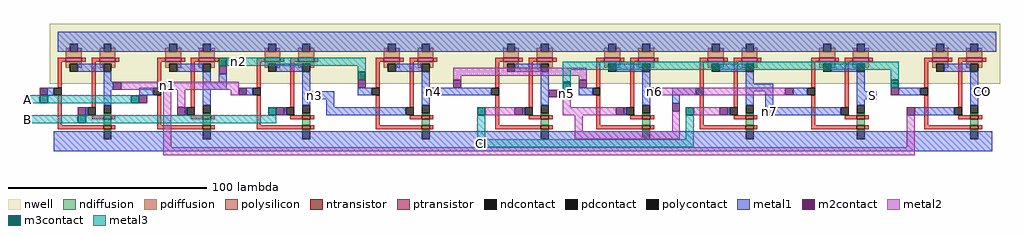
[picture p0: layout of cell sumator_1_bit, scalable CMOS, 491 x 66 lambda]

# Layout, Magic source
magic
tech scmos
<< nwell >>
rect -1 28 477 58
<< metal1 >>
rect 3 44 475 54
rect 84 29 88 33
rect 30 25 31 29
rect 80 25 88 29
rect 126 24 130 26
rect 126 20 142 24
rect 190 22 216 26
rect 265 22 270 26
rect 312 22 317 26
rect 353 24 363 28
rect 138 16 142 20
rect 312 18 316 22
rect 138 12 177 16
rect 359 16 363 24
rect 409 20 415 24
rect 426 22 430 26
rect 466 22 470 26
rect 359 12 396 16
rect 434 12 453 16
rect 1 -6 473 4
<< m2contact >>
rect 84 33 88 37
rect -6 22 -2 26
rect 31 25 35 29
rect 154 26 158 30
rect 202 26 206 30
rect 265 26 269 30
rect 94 22 98 26
rect 44 18 48 22
rect 250 21 254 25
rect 301 22 305 26
rect 13 12 17 16
rect 63 12 67 16
rect 113 12 117 16
rect 233 12 237 16
rect 284 12 288 16
rect 312 14 316 18
rect 369 22 373 26
rect 422 22 426 26
rect 336 12 340 16
rect 430 12 434 16
<< metal2 >>
rect 35 25 94 29
rect 202 32 269 36
rect 202 30 206 32
rect 265 30 269 32
rect 56 -4 60 25
rect 63 16 67 25
rect 90 22 94 25
rect 254 21 261 25
rect 305 22 369 26
rect 257 16 261 21
rect 218 12 233 16
rect 257 12 284 16
rect 263 4 267 12
rect 312 4 316 14
rect 323 12 336 16
rect 263 0 316 4
rect 430 -4 434 12
rect 56 -8 434 -4
<< m3contact >>
rect 84 37 88 41
rect 154 30 158 34
rect -6 18 -2 22
rect 40 18 44 22
rect 13 8 17 12
rect 257 25 261 29
rect 422 26 426 30
rect 109 12 113 16
rect 214 12 218 16
rect 319 12 323 16
<< metal3 >>
rect 88 37 158 41
rect 154 34 158 37
rect 257 35 426 39
rect 257 29 261 35
rect 422 30 426 35
rect -14 18 -6 22
rect -2 18 40 22
rect -14 8 13 12
rect 17 8 113 12
rect 214 0 218 12
rect 319 0 323 12
rect 214 -4 323 0
use nand  nand_0
transform 1 0 13 0 1 10
box -19 -10 21 38
use nand  nand_1
transform 1 0 63 0 1 10
box -19 -10 21 38
use nand  nand_2
transform 1 0 113 0 1 10
box -19 -10 21 38
use nand  nand_3
transform 1 0 173 0 1 10
box -19 -10 21 38
use nand  nand_4
transform 1 0 233 0 1 10
box -19 -10 21 38
use nand  nand_5
transform 1 0 284 0 1 10
box -19 -10 21 38
use nand  nand_6
transform 1 0 336 0 1 10
box -19 -10 21 38
use nand  nand_7
transform 1 0 392 0 1 10
box -19 -10 21 38
use nand  nand_8
transform 1 0 449 0 1 10
box -19 -10 21 38
<< labels >>
rlabel metal1 130 20 134 24 1 n3
rlabel metal1 190 22 194 26 1 n4
rlabel metal2 257 21 261 25 1 n5
rlabel m2contact 301 22 305 26 1 n6
rlabel metal1 359 12 363 16 1 n7
rlabel metal2 56 25 60 29 1 n1
rlabel metal3 92 37 96 41 1 n2
rlabel metal3 214 -4 218 0 1 CI
rlabel metal1 411 20 415 24 1 S
rlabel metal1 466 22 470 26 1 CO
rlabel metal3 -14 18 -10 22 3 A
rlabel metal3 -14 8 -10 12 3 B
<< end >>

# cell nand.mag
magic
tech scmos
<< ntransistor >>
rect 13 0 17 2
rect 13 -5 17 -3
<< ptransistor >>
rect -6 29 2 31
rect 11 29 19 31
<< ndiffusion >>
rect 13 2 17 3
rect 13 -3 17 0
rect 13 -6 17 -5
<< pdiffusion >>
rect -6 34 -4 36
rect 0 34 2 36
rect -6 31 2 34
rect 11 34 13 36
rect 17 34 19 36
rect 11 31 19 34
rect -6 28 2 29
rect -6 26 -4 28
rect 0 26 2 28
rect 11 28 19 29
rect 11 26 13 28
rect 17 26 19 28
<< ndcontact >>
rect 13 3 17 7
rect 13 -10 17 -6
<< pdcontact >>
rect -4 34 0 38
rect 13 34 17 38
rect -4 24 0 28
rect 13 24 17 28
<< polysilicon >>
rect -10 29 -6 31
rect 2 29 4 31
rect 7 29 11 31
rect 19 29 21 31
rect -10 16 -8 29
rect -10 -3 -8 12
rect 7 6 9 29
rect 7 0 13 2
rect 17 0 19 2
rect -10 -5 13 -3
rect 17 -5 19 -3
<< polycontact >>
rect -12 12 -8 16
rect 5 2 9 6
<< metal1 >>
rect -10 34 -4 38
rect 0 34 13 38
rect 17 34 21 38
rect 0 24 13 28
rect -19 12 -12 16
rect 13 7 17 24
rect 4 2 5 6
rect -6 -10 13 -6
<< labels >>
rlabel polycontact 5 3 6 5 1 b
rlabel polycontact -12 13 -11 15 3 a
<< end >>
